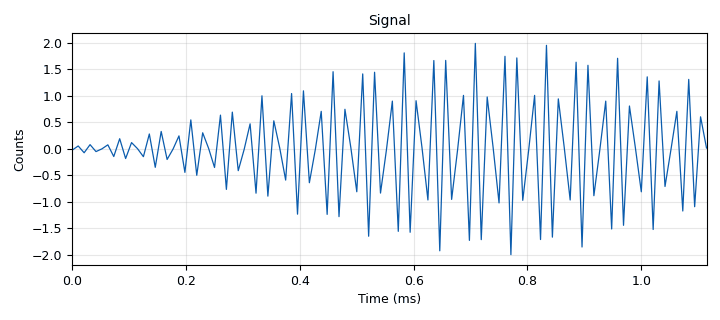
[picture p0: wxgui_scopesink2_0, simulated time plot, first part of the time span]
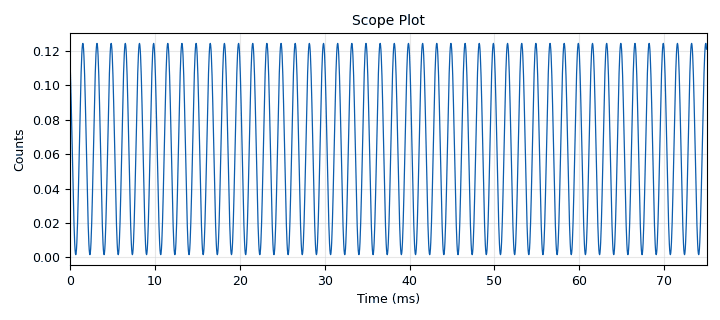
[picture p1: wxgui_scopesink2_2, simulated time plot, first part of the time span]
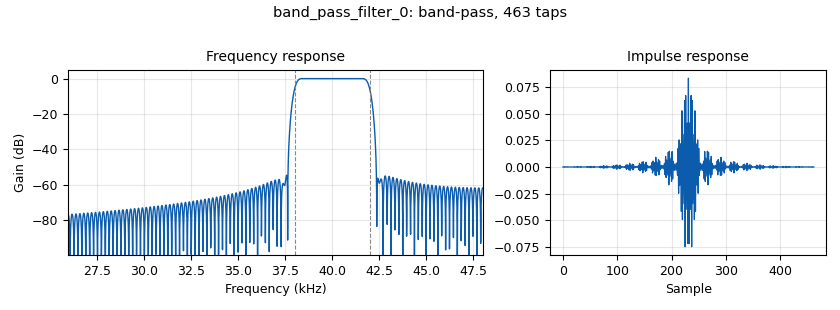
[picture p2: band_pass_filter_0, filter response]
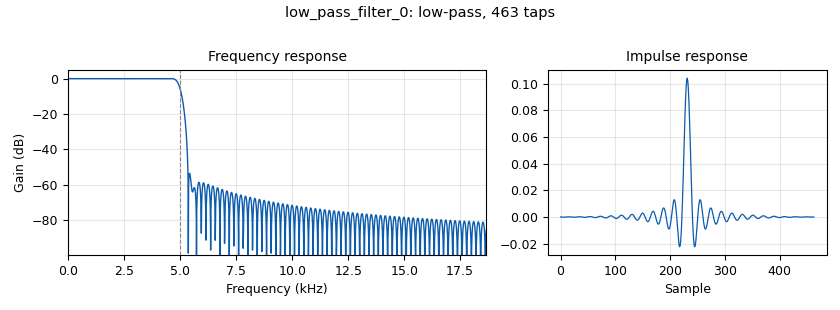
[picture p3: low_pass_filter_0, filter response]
<?xml version='1.0' encoding='utf-8'?>
<?grc format='1' created='3.7.11'?>
<flow_graph>
<block>
<key>options</key>
<param><key>id</key><value>env_det_test</value></param>
<param><key>generate_options</key><value>wx_gui</value></param>
</block>
<block>
<key>variable</key>
<param><key>id</key><value>carrier</value></param>
<param><key>value</key><value>40000</value></param>
</block>
<block>
<key>variable_slider</key>
<param><key>id</key><value>freq</value></param>
<param><key>converver</key><value>float_converter</value></param>
<param><key>value</key><value>600</value></param>
<param><key>grid_pos</key><value>0,0,1,10</value></param>
<param><key>label</key><value>Tone Freq</value></param>
<param><key>max</key><value>2000</value></param>
<param><key>min</key><value>0</value></param>
<param><key>num_steps</key><value>20</value></param>
<param><key>style</key><value>wx.SL_HORIZONTAL</value></param>
</block>
<block>
<key>variable_slider</key>
<param><key>id</key><value>level_carrier</value></param>
<param><key>converver</key><value>float_converter</value></param>
<param><key>value</key><value>1</value></param>
<param><key>grid_pos</key><value>0,10,1,10</value></param>
<param><key>label</key><value>Carrier Level</value></param>
<param><key>max</key><value>2</value></param>
<param><key>min</key><value>0</value></param>
<param><key>num_steps</key><value>20</value></param>
<param><key>style</key><value>wx.SL_HORIZONTAL</value></param>
</block>
<block>
<key>variable_slider</key>
<param><key>id</key><value>level_mod</value></param>
<param><key>converver</key><value>float_converter</value></param>
<param><key>value</key><value>1</value></param>
<param><key>grid_pos</key><value>0,20,1,10</value></param>
<param><key>label</key><value>Modulation Level</value></param>
<param><key>max</key><value>2</value></param>
<param><key>min</key><value>0</value></param>
<param><key>num_steps</key><value>20</value></param>
<param><key>style</key><value>wx.SL_HORIZONTAL</value></param>
</block>
<block>
<key>variable_chooser</key>
<param><key>id</key><value>mode</value></param>
<param><key>choices</key><value>[0,1]</value></param>
<param><key>value</key><value>1</value></param>
<param><key>grid_pos</key><value>0,40,1,10</value></param>
<param><key>label</key><value>Detector</value></param>
<param><key>labels</key><value>['Half', 'Full']</value></param>
<param><key>style</key><value>wx.RA_HORIZONTAL</value></param>
<param><key>type</key><value>radio_buttons</value></param>
</block>
<block>
<key>variable_slider</key>
<param><key>id</key><value>rc_coeff</value></param>
<param><key>converver</key><value>float_converter</value></param>
<param><key>value</key><value>0.15</value></param>
<param><key>grid_pos</key><value>0,50,1,10</value></param>
<param><key>label</key><value>RC Coefficient</value></param>
<param><key>max</key><value>0.2</value></param>
<param><key>min</key><value>0.01</value></param>
<param><key>num_steps</key><value>200</value></param>
<param><key>style</key><value>wx.SL_HORIZONTAL</value></param>
</block>
<block>
<key>variable</key>
<param><key>id</key><value>samp_rate</value></param>
<param><key>value</key><value>96000</value></param>
</block>
<block>
<key>variable_slider</key>
<param><key>id</key><value>vol</value></param>
<param><key>converver</key><value>float_converter</value></param>
<param><key>value</key><value>.1</value></param>
<param><key>grid_pos</key><value>0,30,1,10</value></param>
<param><key>label</key><value>Volume</value></param>
<param><key>max</key><value>1</value></param>
<param><key>min</key><value>0</value></param>
<param><key>num_steps</key><value>10</value></param>
<param><key>style</key><value>wx.SL_HORIZONTAL</value></param>
</block>
<block>
<key>analog_sig_source_x</key>
<param><key>id</key><value>analog_sig_source_x_0</value></param>
<param><key>amp</key><value>level_carrier</value></param>
<param><key>freq</key><value>carrier</value></param>
<param><key>offset</key><value>0</value></param>
<param><key>type</key><value>float</value></param>
<param><key>samp_rate</key><value>samp_rate</value></param>
<param><key>waveform</key><value>analog.GR_COS_WAVE</value></param>
</block>
<block>
<key>analog_sig_source_x</key>
<param><key>id</key><value>analog_sig_source_x_1</value></param>
<param><key>amp</key><value>level_mod</value></param>
<param><key>freq</key><value>freq</value></param>
<param><key>offset</key><value>0</value></param>
<param><key>type</key><value>float</value></param>
<param><key>samp_rate</key><value>samp_rate</value></param>
<param><key>waveform</key><value>analog.GR_COS_WAVE</value></param>
</block>
<block>
<key>audio_sink</key>
<param><key>id</key><value>audio_sink_0</value></param>
<param><key>samp_rate</key><value>24000</value></param>
</block>
<block>
<key>band_pass_filter</key>
<param><key>id</key><value>band_pass_filter_0</value></param>
<param><key>decim</key><value>1</value></param>
<param><key>type</key><value>fir_filter_fff</value></param>
<param><key>gain</key><value>1</value></param>
<param><key>high_cutoff_freq</key><value>42000</value></param>
<param><key>low_cutoff_freq</key><value>38000</value></param>
<param><key>samp_rate</key><value>samp_rate</value></param>
<param><key>width</key><value>500</value></param>
<param><key>win</key><value>firdes.WIN_HAMMING</value></param>
</block>
<block>
<key>blocks_add_const_vxx</key>
<param><key>id</key><value>blocks_add_const_vxx_0</value></param>
<param><key>const</key><value>1</value></param>
<param><key>type</key><value>float</value></param>
</block>
<block>
<key>blocks_multiply_const_vxx</key>
<param><key>id</key><value>blocks_multiply_const_vxx_0</value></param>
<param><key>const</key><value>vol</value></param>
<param><key>type</key><value>float</value></param>
</block>
<block>
<key>blocks_multiply_xx</key>
<param><key>id</key><value>blocks_multiply_xx_0</value></param>
<param><key>type</key><value>float</value></param>
</block>
<block>
<key>blocks_throttle</key>
<param><key>id</key><value>blocks_throttle_0</value></param>
<param><key>samples_per_second</key><value>100000</value></param>
<param><key>type</key><value>float</value></param>
</block>
<block>
<key>epy_block</key>
<param><key>id</key><value>ed</value></param>
<param><key>_source_code</key><value>"""
Embedded Python Blocks:

Each time this file is saved, GRC will instantiate the first class it finds
to get ports and parameters of your block. The arguments to __init__  will
be the parameters. All of them are required to have default values!
"""

import numpy as np
from gnuradio import gr


class blk(gr.sync_block):  # other base classes are basic_block, decim_block, interp_block
    """Embedded Python Block example - a simple multiply const"""

    def __init__(self, threshold=0.0, mode=0, coeff=0.15):  # only default arguments here
        """arguments to this function show up as parameters in GRC"""
        gr.sync_block.__init__(
            self,
            name='Envelope Detector',   # will show up in GRC
            in_sig=[np.float32],
            out_sig=[np.float32]
        )
        # if an attribute with the same name as a parameter is found,
        # a callback is registered (properties work, too).

        self.ry = 0
        self.threshold = threshold
        self.mode = mode
        self.coeff = coeff

    def work(self, input_items, output_items):
        """Envelope Detect with Half/Full Wave Rectifier"""
        buf = [0] * len(input_items[0])
        a0 = self.coeff
        b1 = 1 - a0
        for i in range (0, len(input_items[0])) :
            if self.mode == 1:
                buf[i] = abs(input_items[0][i])
            else:
                if input_items[0][i] &gt; self.threshold:
                    buf[i] = input_items[0][i]
                else:
                    buf[i] = 0
        for i in range(0, len(output_items[0])):
            if i==0:
                output_items[0][i] = a0*buf[i] + b1*self.ry
            else:
                output_items[0][i] = a0*buf[i] + b1*output_items[0][i-1]

        i = len(output_items[0])-1
        self.ry = output_items[0][i]
        return len(output_items[0])
</value></param>
<param><key>coeff</key><value>rc_coeff</value></param>
<param><key>mode</key><value>mode</value></param>
<param><key>threshold</key><value>0</value></param>
</block>
<block>
<key>low_pass_filter</key>
<param><key>id</key><value>low_pass_filter_0</value></param>
<param><key>cutoff_freq</key><value>5000</value></param>
<param><key>decim</key><value>4</value></param>
<param><key>type</key><value>fir_filter_fff</value></param>
<param><key>gain</key><value>1</value></param>
<param><key>samp_rate</key><value>samp_rate</value></param>
<param><key>width</key><value>500</value></param>
<param><key>win</key><value>firdes.WIN_HAMMING</value></param>
</block>
<block>
<key>notebook</key>
<param><key>id</key><value>tabs</value></param>
<param><key>labels</key><value>['Signal', 'Detector','Audio']</value></param>
<param><key>style</key><value>wx.NB_TOP</value></param>
</block>
<block>
<key>wxgui_scopesink2</key>
<param><key>id</key><value>wxgui_scopesink2_0</value></param>
<param><key>ac_couple</key><value>True</value></param>
<param><key>notebook</key><value>tabs,0</value></param>
<param><key>num_inputs</key><value>1</value></param>
<param><key>samp_rate</key><value>samp_rate</value></param>
<param><key>t_scale</key><value>.002</value></param>
<param><key>title</key><value>Signal</value></param>
<param><key>trig_mode</key><value>wxgui.TRIG_MODE_AUTO</value></param>
<param><key>type</key><value>float</value></param>
<param><key>v_offset</key><value>0</value></param>
<param><key>v_scale</key><value>0</value></param>
<param><key>xy_mode</key><value>False</value></param>
<param><key>y_axis_label</key><value>Counts</value></param>
</block>
<block>
<key>wxgui_scopesink2</key>
<param><key>id</key><value>wxgui_scopesink2_1</value></param>
<param><key>ac_couple</key><value>True</value></param>
<param><key>notebook</key><value>tabs,1</value></param>
<param><key>num_inputs</key><value>1</value></param>
<param><key>samp_rate</key><value>samp_rate</value></param>
<param><key>t_scale</key><value>.002</value></param>
<param><key>title</key><value>Detector</value></param>
<param><key>trig_mode</key><value>wxgui.TRIG_MODE_NORM</value></param>
<param><key>type</key><value>float</value></param>
<param><key>v_offset</key><value>0</value></param>
<param><key>v_scale</key><value>0</value></param>
<param><key>xy_mode</key><value>False</value></param>
<param><key>y_axis_label</key><value>Amplitude</value></param>
</block>
<block>
<key>wxgui_scopesink2</key>
<param><key>id</key><value>wxgui_scopesink2_2</value></param>
<param><key>ac_couple</key><value>True</value></param>
<param><key>notebook</key><value>tabs,2</value></param>
<param><key>num_inputs</key><value>1</value></param>
<param><key>samp_rate</key><value>24000</value></param>
<param><key>t_scale</key><value>.02</value></param>
<param><key>title</key><value>Scope Plot</value></param>
<param><key>trig_mode</key><value>wxgui.TRIG_MODE_AUTO</value></param>
<param><key>type</key><value>float</value></param>
<param><key>v_offset</key><value>0</value></param>
<param><key>v_scale</key><value>0</value></param>
<param><key>xy_mode</key><value>False</value></param>
<param><key>y_axis_label</key><value>Counts</value></param>
</block>
<connection><source_block_id>analog_sig_source_x_0</source_block_id><sink_block_id>blocks_multiply_xx_0</sink_block_id><source_key>0</source_key><sink_key>0</sink_key></connection>
<connection><source_block_id>analog_sig_source_x_1</source_block_id><sink_block_id>blocks_add_const_vxx_0</sink_block_id><source_key>0</source_key><sink_key>0</sink_key></connection>
<connection><source_block_id>band_pass_filter_0</source_block_id><sink_block_id>ed</sink_block_id><source_key>0</source_key><sink_key>0</sink_key></connection>
<connection><source_block_id>band_pass_filter_0</source_block_id><sink_block_id>wxgui_scopesink2_0</sink_block_id><source_key>0</source_key><sink_key>0</sink_key></connection>
<connection><source_block_id>blocks_add_const_vxx_0</source_block_id><sink_block_id>blocks_multiply_xx_0</sink_block_id><source_key>0</source_key><sink_key>1</sink_key></connection>
<connection><source_block_id>blocks_multiply_const_vxx_0</source_block_id><sink_block_id>audio_sink_0</sink_block_id><source_key>0</source_key><sink_key>0</sink_key></connection>
<connection><source_block_id>blocks_multiply_const_vxx_0</source_block_id><sink_block_id>wxgui_scopesink2_2</sink_block_id><source_key>0</source_key><sink_key>0</sink_key></connection>
<connection><source_block_id>blocks_multiply_xx_0</source_block_id><sink_block_id>blocks_throttle_0</sink_block_id><source_key>0</source_key><sink_key>0</sink_key></connection>
<connection><source_block_id>blocks_throttle_0</source_block_id><sink_block_id>band_pass_filter_0</sink_block_id><source_key>0</source_key><sink_key>0</sink_key></connection>
<connection><source_block_id>ed</source_block_id><sink_block_id>low_pass_filter_0</sink_block_id><source_key>0</source_key><sink_key>0</sink_key></connection>
<connection><source_block_id>ed</source_block_id><sink_block_id>wxgui_scopesink2_1</sink_block_id><source_key>0</source_key><sink_key>0</sink_key></connection>
<connection><source_block_id>low_pass_filter_0</source_block_id><sink_block_id>blocks_multiply_const_vxx_0</sink_block_id><source_key>0</source_key><sink_key>0</sink_key></connection>
</flow_graph>
